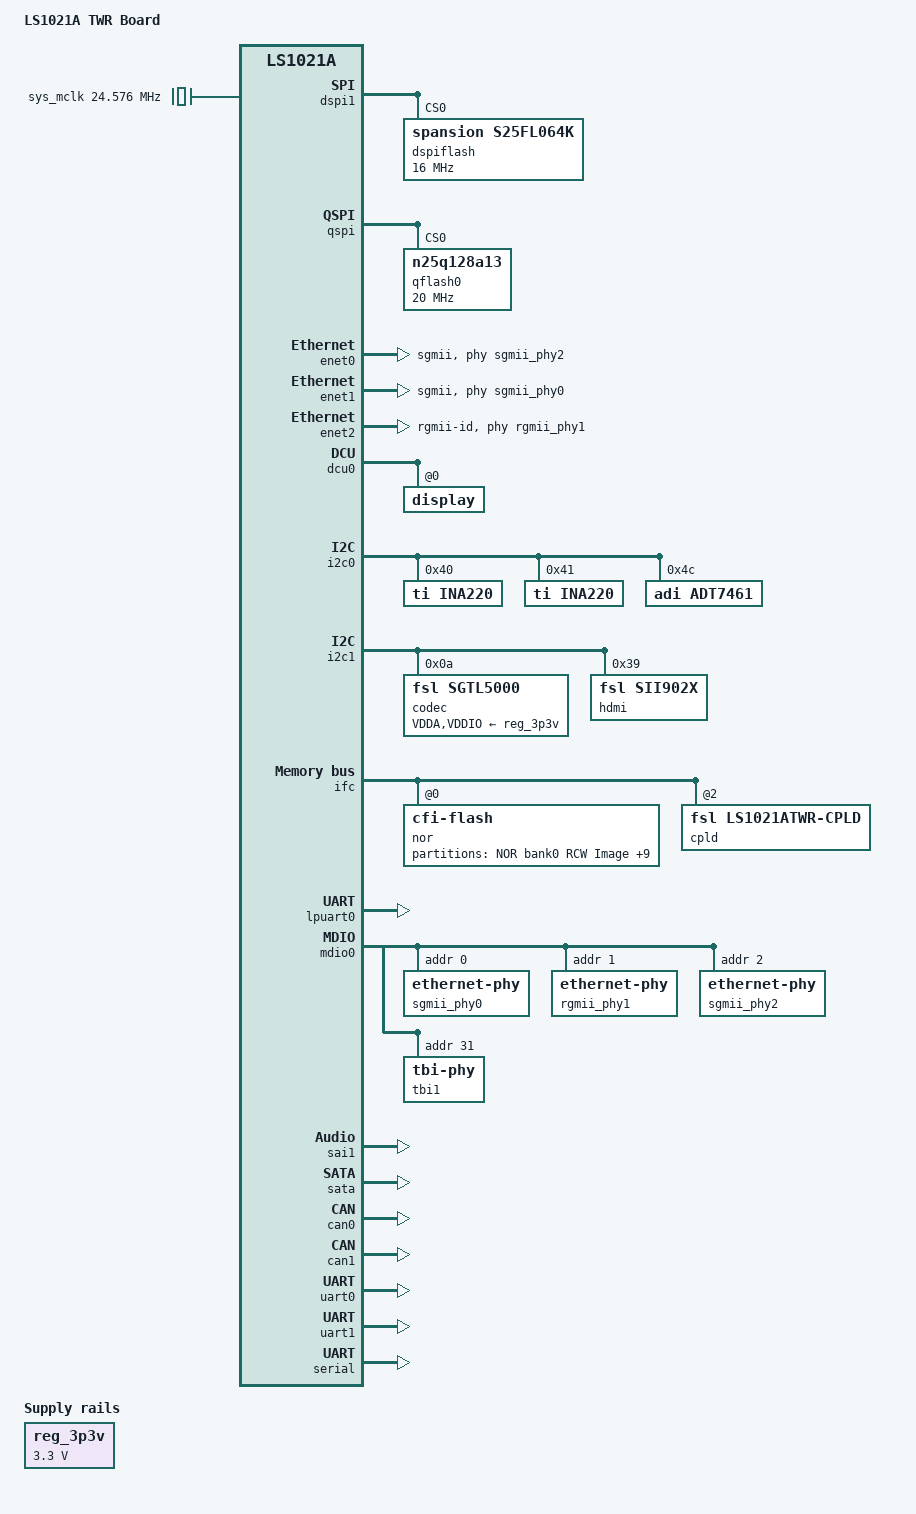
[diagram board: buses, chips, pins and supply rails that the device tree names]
/*
 * Copyright 2013-2014 Freescale Semiconductor, Inc.
 *
 * This file is dual-licensed: you can use it either under the terms
 * of the GPL or the X11 license, at your option. Note that this dual
 * licensing only applies to this file, and not this project as a
 * whole.
 *
 *  a) This file is free software; you can redistribute it and/or
 *     modify it under the terms of the GNU General Public License as
 *     published by the Free Software Foundation; either version 2 of
 *     the License, or (at your option) any later version.
 *
 *     This file is distributed in the hope that it will be useful,
 *     but WITHOUT ANY WARRANTY; without even the implied warranty of
 *     MERCHANTABILITY or FITNESS FOR A PARTICULAR PURPOSE.  See the
 *     GNU General Public License for more details.
 *
 *     You should have received a copy of the GNU General Public
 *     License along with this file; if not, write to the Free
 *     Software Foundation, Inc., 51 Franklin St, Fifth Floor, Boston,
 *     MA 02110-1301 USA
 *
 * Or, alternatively,
 *
 *  b) Permission is hereby granted, free of charge, to any person
 *     obtaining a copy of this software and associated documentation
 *     files (the "Software"), to deal in the Software without
 *     restriction, including without limitation the rights to use,
 *     copy, modify, merge, publish, distribute, sublicense, and/or
 *     sell copies of the Software, and to permit persons to whom the
 *     Software is furnished to do so, subject to the following
 *     conditions:
 *
 *     The above copyright notice and this permission notice shall be
 *     included in all copies or substantial portions of the Software.
 *
 *     THE SOFTWARE IS PROVIDED "AS IS", WITHOUT WARRANTY OF ANY KIND,
 *     EXPRESS OR IMPLIED, INCLUDING BUT NOT LIMITED TO THE WARRANTIES
 *     OF MERCHANTABILITY, FITNESS FOR A PARTICULAR PURPOSE AND
 *     NONINFRINGEMENT. IN NO EVENT SHALL THE AUTHORS OR COPYRIGHT
 *     HOLDERS BE LIABLE FOR ANY CLAIM, DAMAGES OR OTHER LIABILITY,
 *     WHETHER IN AN ACTION OF CONTRACT, TORT OR OTHERWISE, ARISING
 *     FROM, OUT OF OR IN CONNECTION WITH THE SOFTWARE OR THE USE OR
 *     OTHER DEALINGS IN THE SOFTWARE.
 */

/dts-v1/;
#include "ls1021a.dtsi"

/ {
	model = "LS1021A TWR Board";

	aliases {
		enet2_rgmii_phy = &rgmii_phy1;
		enet0_sgmii_phy = &sgmii_phy2;
		enet1_sgmii_phy = &sgmii_phy0;
	};

	sys_mclk: clock-mclk {
		compatible = "fixed-clock";
		#clock-cells = <0>;
		clock-frequency = <24576000>;
	};

	regulators {
		compatible = "simple-bus";
		#address-cells = <1>;
		#size-cells = <0>;

		reg_3p3v: regulator@0 {
			compatible = "regulator-fixed";
			reg = <0>;
			regulator-name = "3P3V";
			regulator-min-microvolt = <3300000>;
			regulator-max-microvolt = <3300000>;
			regulator-always-on;
		};
	};

	sound {
		compatible = "simple-audio-card";
		simple-audio-card,format = "i2s";
		simple-audio-card,widgets =
			"Microphone", "Microphone Jack",
			"Headphone", "Headphone Jack",
			"Speaker", "Speaker Ext",
			"Line", "Line In Jack";
		simple-audio-card,routing =
			"MIC_IN", "Microphone Jack",
			"Microphone Jack", "Mic Bias",
			"LINE_IN", "Line In Jack",
			"Headphone Jack", "HP_OUT",
			"Speaker Ext", "LINE_OUT";

		simple-audio-card,cpu {
			sound-dai = <&sai1>;
			frame-master;
			bitclock-master;
		};

		simple-audio-card,codec {
			sound-dai = <&codec>;
			frame-master;
			bitclock-master;
		};
	};
};

&dspi1 {
	bus-num = <0>;
	status = "okay";

	dspiflash: s25fl064k@0 {
		#address-cells = <1>;
		#size-cells = <1>;
		compatible = "spansion,s25fl064k";
		spi-max-frequency = <16000000>;
		spi-cpol;
		spi-cpha;
		reg = <0>;
	};
};

&qspi {
	num-cs = <2>;
	status = "okay";

	qflash0: n25q128a13@0 {
		compatible = "n25q128a13", "jedec,spi-nor";
		#address-cells = <1>;
		#size-cells = <1>;
		spi-max-frequency = <20000000>;
		reg = <0>;
	};
};

&enet0 {
	tbi-handle = <&tbi1>;
	phy-handle = <&sgmii_phy2>;
	phy-connection-type = "sgmii";
	status = "okay";
};

&enet1 {
	tbi-handle = <&tbi1>;
	phy-handle = <&sgmii_phy0>;
	phy-connection-type = "sgmii";
	status = "okay";
};

&enet2 {
	phy-handle = <&rgmii_phy1>;
	phy-connection-type = "rgmii-id";
	status = "okay";
};

&dcu0 {
	display = <&display>;
	status = "okay";

	display: display@0 {
		bits-per-pixel = <24>;

		display-timings {
			native-mode = <&timing0>;
			timing0: nl4827hc19 {
				clock-frequency = <10870000>;
				hactive = <480>;
				vactive = <272>;
				hback-porch = <2>;
				hfront-porch = <2>;
				vback-porch = <2>;
				vfront-porch = <2>;
				hsync-len = <41>;
				vsync-len = <4>;
				hsync-active = <1>;
				vsync-active = <1>;
			};
		};
	};
};

&i2c0 {
	status = "okay";

	ina220@40 {
		compatible = "ti,ina220";
		reg = <0x40>;
		shunt-resistor = <1000>;
	};

	ina220@41 {
		compatible = "ti,ina220";
		reg = <0x41>;
		shunt-resistor = <1000>;
	};

	adt7461@4c {
		compatible = "adi,adt7461";
		reg = <0x4c>;
	};
};

&i2c1 {
	status = "okay";
	codec: sgtl5000@a {
		#sound-dai-cells = <0>;
		compatible = "fsl,sgtl5000";
		reg = <0x0a>;
		VDDA-supply = <&reg_3p3v>;
		VDDIO-supply = <&reg_3p3v>;
		clocks = <&sys_mclk 1>;
	};

	hdmi: sii9022a@39 {
	      compatible = "fsl,sii902x";
	      reg = <0x39>;
	      interrupts = <GIC_SPI 167 IRQ_TYPE_EDGE_RISING>;
	};
};

&ifc {
	#address-cells = <2>;
	#size-cells = <1>;
	/* NOR Flash on board */
	ranges = <0x0 0x0 0x0 0x60000000 0x08000000>;
	status = "okay";

	nor@0,0 {
		#address-cells = <1>;
		#size-cells = <1>;
		compatible = "cfi-flash";
		reg = <0x0 0x0 0x8000000>;
		bank-width = <2>;
		device-width = <1>;

		partition@0 {
			/* 128KB for bank0 RCW */
			reg = <0x00000000 0x00020000>;
			label = "NOR bank0 RCW Image";
		};

		partition@100000 {
			/* 1MB for bank0 u-boot Image */
			reg = <0x00100000 0x00100000>;
			label = "NOR bank0 u-boot Image";
		};

		partition@200000 {
			/* 1MB for bank0 DTB */
			reg = <0x00200000 0x00100000>;
			label = "NOR bank0 DTB Image";
		};

		partition@300000 {
			/* 7MB for bank0 Linux Kernel */
			reg = <0x00300000 0x00700000>;
			label = "NOR bank0 Linux Kernel Image";
		};

		partition@a00000 {
			/* 54MB for bank0 Ramdisk Root File System */
			reg = <0x00a00000 0x03600000>;
			label = "NOR bank0 Ramdisk Root File System Image";
		};

		partition@4000000 {
			/* 128KB for bank4 RCW */
			reg = <0x04000000 0x00020000>;
			label = "NOR bank4 RCW Image";
		};

		partition@4100000 {
			/* 1MB for bank4 u-boot Image */
			reg = <0x04100000 0x00100000>;
			label = "NOR bank4 u-boot Image";
		};

		partition@4200000 {
			/* 1MB for bank4 DTB */
			reg = <0x04200000 0x00100000>;
			label = "NOR bank4 DTB Image";
		};

		partition@4300000 {
			/* 7MB for bank4 Linux Kernel */
			reg = <0x04300000 0x00700000>;
			label = "NOR bank4 Linux Kernel Image";
		};

		partition@4a00000 {
			/* 54MB for bank4 Ramdisk Root File System */
			reg = <0x04a00000 0x03600000>;
			label = "NOR bank4 Ramdisk Root File System Image";
		};
	};

	cpld@2,0 {
		compatible = "fsl,ls1021atwr-cpld";
		reg = <0x2 0x0 0x100>;
	};
};

&lpuart0 {
	status = "okay";
};

&mdio0 {
	sgmii_phy0: ethernet-phy@0 {
		reg = <0x0>;
	};
	rgmii_phy1: ethernet-phy@1 {
		reg = <0x1>;
	};
	sgmii_phy2: ethernet-phy@2 {
		reg = <0x2>;
	};
	tbi1: tbi-phy@1f {
		reg = <0x1f>;
		device_type = "tbi-phy";
	};
};

&sai1 {
	status = "okay";
};

&sata {
	status = "okay";
};

&can0 {
	status = "okay";
};

&can1 {
	status = "okay";
};

&can2 {
	status = "disabled";
};

&can3 {
	status = "disabled";
};

&uart0 {
	status = "okay";
};

&uart1 {
	status = "okay";
};

&uqe {
	serial: ucc@2000 {
		device_type = "serial";
		compatible = "ucc_uart";
		port-number = <0>;
		rx-clock-name = "brg1";
		tx-clock-name = "brg1";
	};

	ucc_hdlc: ucc@2200 {
		compatible = "fsl,ucc_hdlc";
		rx-clock-name = "brg2";
		tx-clock-name = "brg2";
		fsl,rx-sync-clock = "none";
		fsl,tx-sync-clock = "none";
		fsl,tx-timeslot = <0xfffffffe>;
		fsl,rx-timeslot = <0xfffffffe>;
		fsl,tdm-framer-type = "e1";
		fsl,tdm-mode = "normal";
		fsl,tdm-id = <1>;
		fsl,siram-entry-id = <2>;
		fsl,inter-loopback;
	};
};
